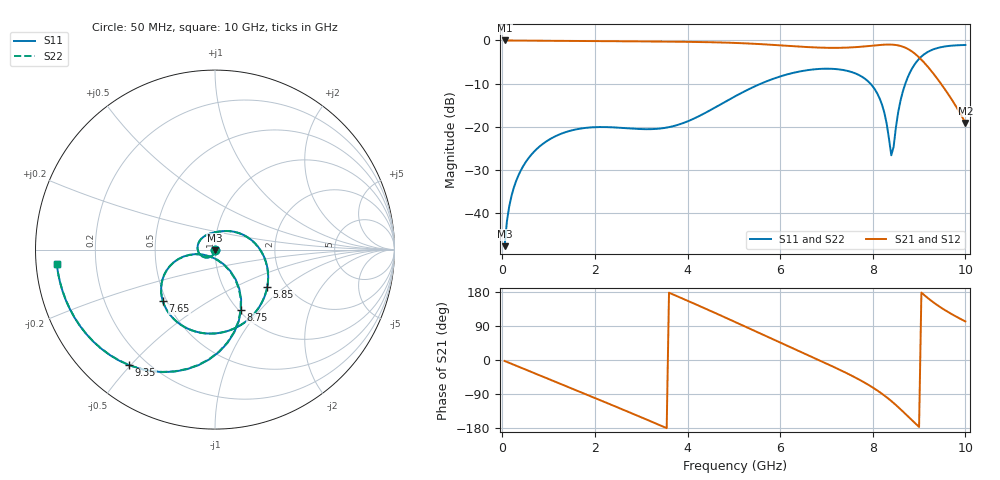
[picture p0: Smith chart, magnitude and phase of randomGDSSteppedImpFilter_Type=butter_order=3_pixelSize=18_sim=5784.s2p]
! freq	dB(S11)	phase(S11)	dB(S12)	phase(S12)
!  dB(S21)	phase(S21)	dB(S22)	phase(S22)
!S-par simulation data
#  GHz  S  DB  R 50
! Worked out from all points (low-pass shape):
!   200 points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, 50 MHz to 10 GHz, reference 50 ohm
!   highest |S21| = 0.00 dB at 50 MHz (marker M1); lowest = -19.1 dB at 10 GHz (marker M2)
!   |S21| within 3 dB of the highest: start of sweep to 8.901 GHz
!   lowest |S11| = -47.7 dB at 50 MHz (marker M3), VSWR 1.01, Z = 50 - j0.41 ohm
!   |S11| at or under -10 dB: start of sweep to 5.59 GHz; 7.946 GHz to 8.704 GHz (757.9 MHz wide, 9.1 % of centre)
!   |S22| runs from -47.7 to -1.1 dB; largest |S21 - S12| = 0
!   S11 on the Smith chart (normalised r, x): 50 MHz: 1.00, -0.01; 5.85 GHz: 1.59, -0.77; 7.65 GHz: 0.48, -0.33; 8.75 GHz: 1.02, -0.80; 9.35 GHz: 0.14, -0.49; 10 GHz: 0.06, -0.05
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0.05  -47.74 -87.9  -0.00 -2.6  -0.00 -2.6  -47.74 -87.9
0.1  -41.94 -92.5  -0.01 -5.1  -0.01 -5.1  -41.94 -92.5
0.2  -36.03 -99.0  -0.02 -10.1  -0.02 -10.1  -36.03 -99.1
0.5  -28.32 -115.4  -0.04 -25.1  -0.04 -25.1  -28.32 -115.4
1.15  -22.21 -148.7  -0.09 -57.6  -0.09 -57.6  -22.21 -148.8
1.75  -20.36 -179.1  -0.14 -87.7  -0.14 -87.7  -20.35 -179.2
2.5  -20.23 142.6  -0.19 -125.6  -0.19 -125.6  -20.23 142.4
3.4  -20.45 95.7  -0.26 -171.9  -0.26 -171.9  -20.45 95.3
4.15  -18.07 56.2  -0.35 148.4  -0.35 148.4  -18.07 55.8
5.05  -12.83 8.0  -0.59 99.1  -0.59 99.1  -12.83 7.7
5.85  -8.90 -35.8  -1.03 54.4  -1.03 54.4  -8.90 -36.0
6.7  -6.75 -82.0  -1.60 7.2  -1.60 7.2  -6.74 -82.2
7.65  -7.77 -135.2  -1.54 -48.0  -1.54 -48.0  -7.76 -135.3
8.1  -12.36 -162.9  -1.10 -80.6  -1.10 -80.6  -12.35 -162.8
8.25  -16.77 -168.5  -0.98 -93.7  -0.98 -93.7  -16.75 -168.2
8.35  -22.81 -157.4  -0.95 -103.2  -0.95 -103.2  -22.71 -156.8
8.4  -26.65 -125.0  -0.96 -108.3  -0.96 -108.3  -26.42 -124.9
8.6  -13.92 -55.3  -1.29 -130.0  -1.29 -130.0  -13.91 -55.8
8.75  -8.69 -66.8  -1.93 -147.6  -1.93 -147.6  -8.69 -67.2
9.05  -3.74 -98.1  -4.46 177.8  -4.46 177.8  -3.74 -98.3
9.35  -1.91 -126.6  -8.26 148.5  -8.26 148.5  -1.91 -126.9
10  -1.06 -174.6  -19.14 101.8  -19.14 101.8  -1.06 -174.8
